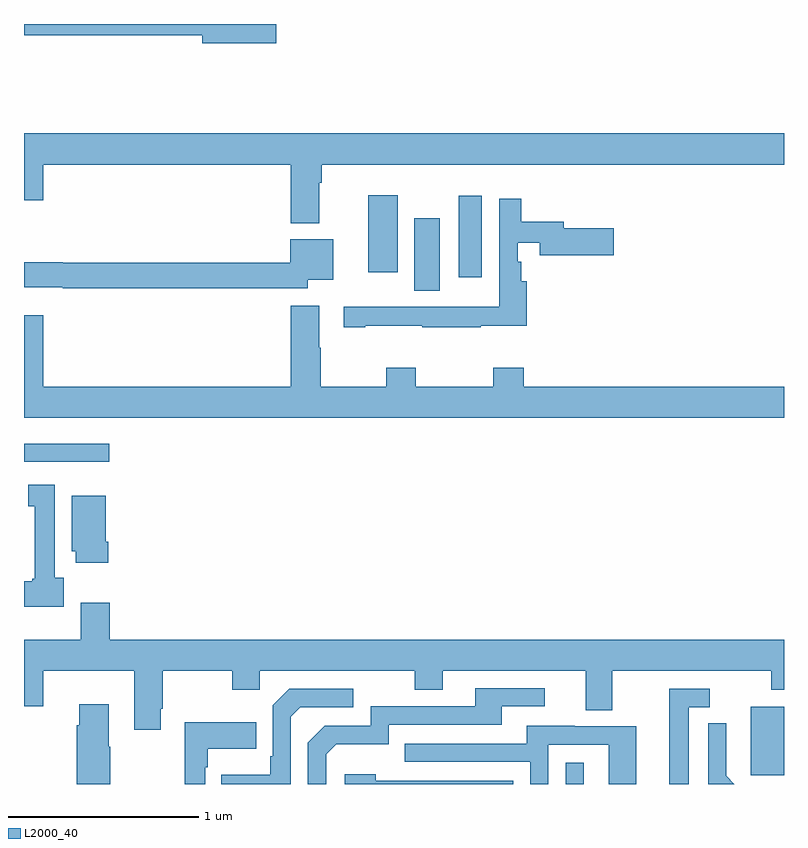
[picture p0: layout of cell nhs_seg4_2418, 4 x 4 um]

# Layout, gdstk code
import gdstk
lib = gdstk.Library(unit=1e-6, precision=1e-09)
def R(c, l, rs):  # rectangles x0, y0, x1, y1
    for r in rs: c.add(gdstk.rectangle(r[:2], r[2:], *l))
def P(c, l, *ps):  # polygons
    for p in ps: c.add(gdstk.Polygon(p, *l))
L2000_40 = (2000, 40)

nhs_seg4_2418 = lib.new_cell('nhs_seg4_2418')
R(nhs_seg4_2418, L2000_40, [(239.85,786.9,239.947,787.012), (240.824,786.945,241,787.306), (237,788.595,237.448,788.692), (239.054,789.496,239.188,789.877), (239.288,789.567,239.41,789.997), (238.811,789.594,238.966,790)])
P(nhs_seg4_2418, L2000_40, [(238.327,790.9),(237,790.9),(237,790.84),(237.938,790.84),(237.938,790.798),(238.327,790.798)],
  [(238.555,790.064),(238.568,790.064),(238.568,790.16),(241,790.16),(241,790.324),(237,790.324),(237,789.972),(237.1,789.972),(237.1,790.16),(238.403,790.16),(238.403,789.851),(238.555,789.851)],
  [(238.795,789.313),(239.095,789.313),(239.095,789.303),(239.405,789.303),(239.405,789.313),(239.645,789.313),(239.645,789.547),(239.618,789.547),(239.618,789.648),(239.598,789.648),(239.598,789.749),(239.714,789.749),(239.714,789.683),(240.103,789.683),(240.103,789.825),(239.842,789.825),(239.842,789.859),(239.618,789.859),(239.618,789.979),(239.502,789.979),(239.502,789.412),(239.292,789.412),(239.292,789.411),(238.958,789.411),(238.958,789.413),(238.683,789.413),(238.683,789.303),(238.795,789.303)],
  [(238.494,789.554),(238.627,789.554),(238.627,789.766),(238.4,789.766),(238.4,789.644),(237.204,789.644),(237.204,789.645),(237,789.645),(237,789.515),(237.204,789.515),(237.204,789.508),(238.494,789.508)],
  [(241,788.992),(239.63,788.992),(239.63,789.091),(239.47,789.091),(239.47,788.992),(239.061,788.992),(239.061,789.091),(238.906,789.091),(238.906,788.992),(238.563,788.992),(238.563,789.197),(238.555,789.197),(238.555,789.418),(238.403,789.418),(238.403,788.992),(237.1,788.992),(237.1,789.367),(237,789.367),(237,788.828),(241,788.828)],
  [(237.208,787.986),(237.163,787.986),(237.163,788.476),(237.023,788.476),(237.023,788.363),(237.056,788.363),(237.056,787.98),(237.043,787.98),(237.043,787.966),(237,787.966),(237,787.832),(237.208,787.832)],
  [(237.443,788.176),(237.43,788.176),(237.43,788.416),(237.251,788.416),(237.251,788.124),(237.272,788.124),(237.272,788.064),(237.443,788.064)],
  [(237.721,787.297),(237.729,787.297),(237.729,787.496),(238.096,787.496),(238.096,787.397),(238.242,787.397),(238.242,787.496),(239.056,787.496),(239.056,787.397),(239.203,787.397),(239.203,787.496),(239.957,787.496),(239.957,787.288),(240.097,787.288),(240.097,787.496),(240.934,787.496),(240.934,787.397),(241,787.397),(241,787.66),(237.452,787.66),(237.452,787.855),(237.299,787.855),(237.299,787.66),(237,787.66),(237,787.308),(237.1,787.308),(237.1,787.496),(237.581,787.496),(237.581,787.185),(237.721,787.185)],
  [(238.59,787.056),(238.643,787.109),(238.92,787.109),(238.92,787.212),(239.515,787.212),(239.515,787.308),(239.74,787.308),(239.74,787.404),(239.375,787.404),(239.375,787.308),(238.824,787.308),(238.824,787.206),(238.584,787.206),(238.494,787.116),(238.494,786.9),(238.59,786.9)],
  [(238.404,787.254),(238.455,787.305),(238.732,787.305),(238.732,787.401),(238.395,787.401),(238.308,787.314),(238.308,787.045),(238.296,787.045),(238.296,786.949),(238.039,786.949),(238.039,786.9),(238.404,786.9)],
  [(240.499,787.305),(240.61,787.305),(240.61,787.401),(240.395,787.401),(240.395,786.9),(240.499,786.9)],
  [(237.453,787.097),(237.445,787.097),(237.445,787.321),(237.29,787.321),(237.29,787.208),(237.278,787.208),(237.278,786.9),(237.453,786.9)],
  [(237.954,786.989),(237.967,786.989),(237.967,787.085),(238.223,787.085),(238.223,787.225),(237.846,787.225),(237.846,786.9),(237.954,786.9)],
  [(240.695,786.944),(240.695,787.066),(240.696,787.066),(240.696,787.22),(240.6,787.22),(240.6,786.902),(240.602,786.9),(240.738,786.9)],
  [(239.76,787.107),(240.078,787.107),(240.078,786.9),(240.223,786.9),(240.223,787.203),(239.899,787.203),(239.899,787.207),(239.645,787.207),(239.645,787.113),(239.005,787.113),(239.005,787.017),(239.664,787.017),(239.664,786.9),(239.76,786.9)],
  [(239.574,786.918),(238.85,786.918),(238.85,786.952),(238.689,786.952),(238.689,786.9),(239.574,786.9)])

lib.write_gds('nhs_seg4_2418.gds')
